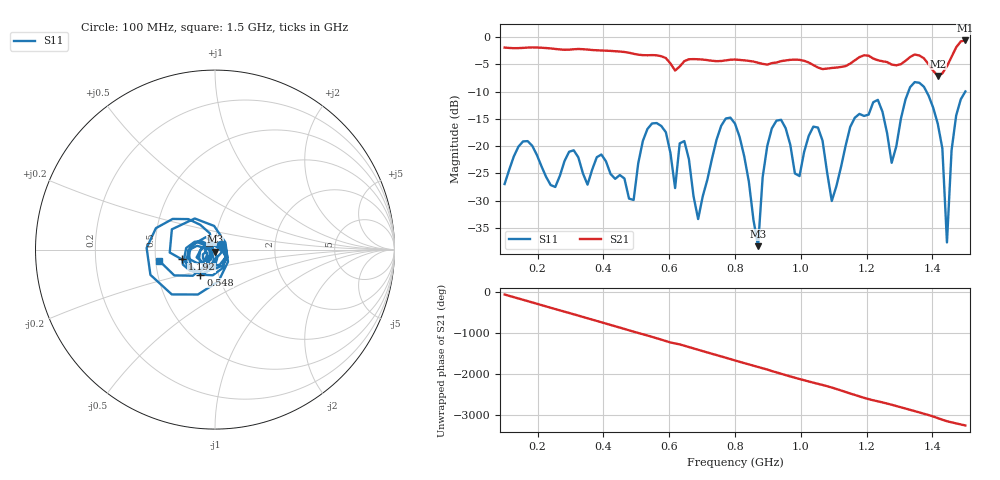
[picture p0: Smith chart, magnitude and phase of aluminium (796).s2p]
! NanoVNA-App
! Date: 2025-09-25 15:01:28
! Start: 100MHz Stop: 1,5GHz Points: 101
! S-Parameter data: F S11 S21 S12 S22
# Hz S RI R 50
!  Frequency  S11_Real  S11_Imag  S21_Real  S21_Imag  S12_Real  S12_Imag  S22_Real  S22_Imag
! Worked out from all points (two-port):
!   101 points, 100 MHz to 1.5 GHz, reference 50 ohm
!   highest |S21| = -0.62 dB at 1.5 GHz (marker M1); lowest = -7.1 dB at 1.416 GHz (marker M2)
!   |S21| within 3 dB of the highest: start of sweep to 580.3 MHz; 1.458 GHz to end of sweep (the widest 2 of 4)
!   lowest |S11| = -38.4 dB at 870 MHz (marker M3), VSWR 1.02, Z = 50 - j1.21 ohm
!   |S11| at or under -10 dB: start of sweep to 1.327 GHz; 1.382 GHz to 1.5 GHz (117.9 MHz wide, 8.19 % of centre)
!   S12 and S22 are empty: the file has one direction only
!   S11 on the Smith chart (normalised r, x): 100 MHz: 1.07, +0.06; 548 MHz: 0.82, -0.23; 1.192 GHz: 0.69, -0.08; 1.5 GHz: 0.52, -0.07
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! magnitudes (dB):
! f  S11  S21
! 100 MHz  -27.0  -1.9
! 156 MHz  -19.1  -2.0
! 338 MHz  -25.0  -2.2
! 492 MHz  -29.9  -3.1
! 548 MHz  -15.8  -3.3
! 576 MHz  -16.3  -3.5
! 618 MHz  -27.7  -6.1
! 646 MHz  -19.1  -4.4
! 688 MHz  -33.4  -4.1
! 800 MHz  -15.9  -4.1
! 870 MHz  -38.4  -4.7
! 912 MHz  -16.7  -4.8
! 996 MHz  -25.5  -4.2
! 1.038 GHz  -16.4  -5.1
! 1.094 GHz  -30.1  -5.7
! 1.192 GHz  -14.5  -3.3
! 1.276 GHz  -23.1  -5.0
! 1.346 GHz  -8.3  -3.2
! 1.416 GHz  -15.9  -7.1
! 1.444 GHz  -37.7  -5.3
! 1.458 GHz  -20.8  -3.6
! 1.5 GHz  -10.0  -0.6
